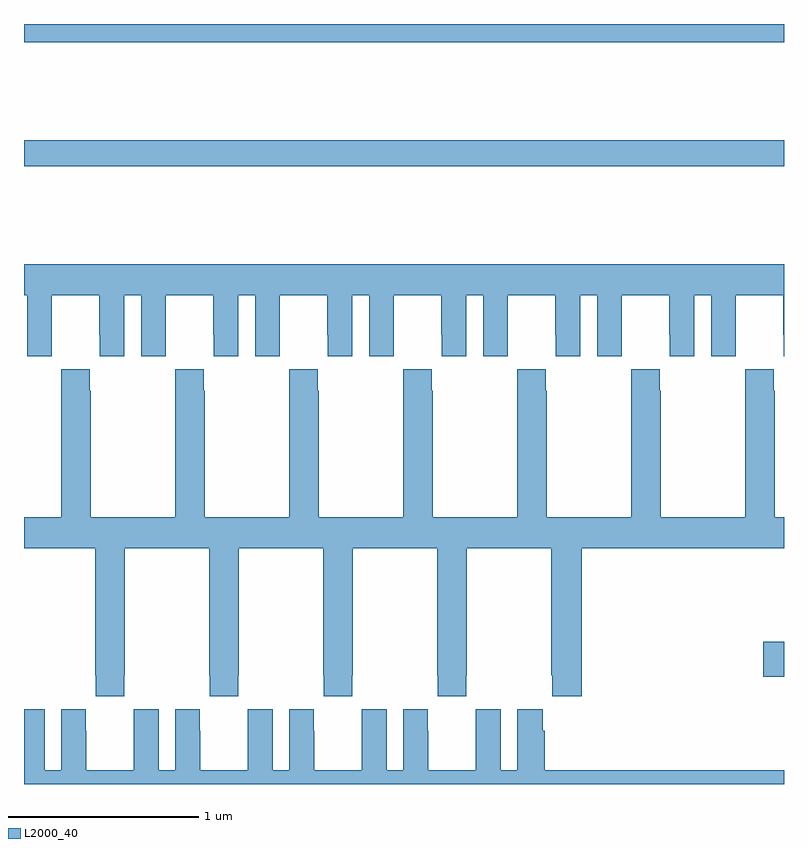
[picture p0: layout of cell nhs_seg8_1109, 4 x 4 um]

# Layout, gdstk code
import gdstk
lib = gdstk.Library(unit=1e-6, precision=1e-09)
def R(c, l, rs):  # rectangles x0, y0, x1, y1
    for r in rs: c.add(gdstk.rectangle(r[:2], r[2:], *l))
def P(c, l, *ps):  # polygons
    for p in ps: c.add(gdstk.Polygon(p, *l))
L2000_40 = (2000, 40)

nhs_seg8_1109 = lib.new_cell('nhs_seg8_1109')
R(nhs_seg8_1109, L2000_40, [(184.89,1142.465,185,1142.648), (181,1145.152,185,1145.288), (181,1145.804,185,1145.9)])
P(nhs_seg8_1109, L2000_40, [(181,1144.472),(181.016,1144.472),(181.016,1144.152),(181.146,1144.152),(181.146,1144.264),(181.147,1144.264),(181.147,1144.472),(181.397,1144.472),(181.397,1144.264),(181.398,1144.264),(181.398,1144.152),(181.528,1144.152),(181.528,1144.472),(181.616,1144.472),(181.616,1144.152),(181.746,1144.152),(181.746,1144.264),(181.747,1144.264),(181.747,1144.472),(181.997,1144.472),(181.997,1144.264),(181.998,1144.264),(181.998,1144.152),(182.128,1144.152),(182.128,1144.472),(182.216,1144.472),(182.216,1144.152),(182.346,1144.152),(182.346,1144.264),(182.347,1144.264),(182.347,1144.472),(182.597,1144.472),(182.597,1144.264),(182.598,1144.264),(182.598,1144.152),(182.728,1144.152),(182.728,1144.472),(182.816,1144.472),(182.816,1144.152),(182.946,1144.152),(182.946,1144.264),(182.947,1144.264),(182.947,1144.472),(183.197,1144.472),(183.197,1144.264),(183.198,1144.264),(183.198,1144.152),(183.328,1144.152),(183.328,1144.472),(183.416,1144.472),(183.416,1144.152),(183.546,1144.152),(183.546,1144.264),(183.547,1144.264),(183.547,1144.472),(183.797,1144.472),(183.797,1144.264),(183.798,1144.264),(183.798,1144.152),(183.928,1144.152),(183.928,1144.472),(184.016,1144.472),(184.016,1144.152),(184.146,1144.152),(184.146,1144.264),(184.147,1144.264),(184.147,1144.472),(184.397,1144.472),(184.397,1144.264),(184.398,1144.264),(184.398,1144.152),(184.528,1144.152),(184.528,1144.472),(184.616,1144.472),(184.616,1144.152),(184.746,1144.152),(184.746,1144.264),(184.747,1144.264),(184.747,1144.472),(184.997,1144.472),(184.997,1144.264),(184.998,1144.264),(184.998,1144.152),(185,1144.152),(185,1144.636),(181,1144.636)],
  [(181.527,1142.473),(181.53,1142.473),(181.53,1143.14),(181.975,1143.14),(181.975,1142.473),(181.977,1142.473),(181.977,1142.361),(182.127,1142.361),(182.127,1142.473),(182.13,1142.473),(182.13,1143.14),(182.575,1143.14),(182.575,1142.473),(182.577,1142.473),(182.577,1142.361),(182.727,1142.361),(182.727,1142.473),(182.73,1142.473),(182.73,1143.14),(183.175,1143.14),(183.175,1142.473),(183.177,1142.473),(183.177,1142.361),(183.327,1142.361),(183.327,1142.473),(183.33,1142.473),(183.33,1143.14),(183.775,1143.14),(183.775,1142.473),(183.781,1142.473),(183.781,1142.361),(183.935,1142.361),(183.935,1143.14),(185,1143.14),(185,1143.304),(184.95,1143.304),(184.95,1143.971),(184.947,1143.971),(184.947,1144.084),(184.797,1144.084),(184.797,1143.971),(184.795,1143.971),(184.795,1143.304),(184.35,1143.304),(184.35,1143.971),(184.347,1143.971),(184.347,1144.084),(184.197,1144.084),(184.197,1143.971),(184.195,1143.971),(184.195,1143.304),(183.75,1143.304),(183.75,1143.971),(183.747,1143.971),(183.747,1144.084),(183.597,1144.084),(183.597,1143.971),(183.595,1143.971),(183.595,1143.304),(183.15,1143.304),(183.15,1143.971),(183.147,1143.971),(183.147,1144.084),(182.997,1144.084),(182.997,1143.971),(182.995,1143.971),(182.995,1143.304),(182.55,1143.304),(182.55,1143.971),(182.547,1143.971),(182.547,1144.084),(182.397,1144.084),(182.397,1143.971),(182.395,1143.971),(182.395,1143.304),(181.95,1143.304),(181.95,1143.971),(181.947,1143.971),(181.947,1144.084),(181.797,1144.084),(181.797,1143.971),(181.795,1143.971),(181.795,1143.304),(181.35,1143.304),(181.35,1143.971),(181.347,1143.971),(181.347,1144.084),(181.197,1144.084),(181.197,1143.971),(181.195,1143.971),(181.195,1143.304),(181,1143.304),(181,1143.14),(181.375,1143.14),(181.375,1142.473),(181.377,1142.473),(181.377,1142.361),(181.527,1142.361)],
  [(185,1141.972),(183.74,1141.972),(183.74,1142.18),(183.73,1142.18),(183.73,1142.293),(183.596,1142.293),(183.596,1141.972),(183.508,1141.972),(183.508,1142.293),(183.378,1142.293),(183.378,1142.18),(183.377,1142.18),(183.377,1141.972),(183.127,1141.972),(183.127,1142.18),(183.126,1142.18),(183.126,1142.293),(182.996,1142.293),(182.996,1141.972),(182.908,1141.972),(182.908,1142.293),(182.778,1142.293),(182.778,1142.18),(182.777,1142.18),(182.777,1141.972),(182.527,1141.972),(182.527,1142.18),(182.526,1142.18),(182.526,1142.293),(182.396,1142.293),(182.396,1141.972),(182.308,1141.972),(182.308,1142.293),(182.178,1142.293),(182.178,1142.18),(182.177,1142.18),(182.177,1141.972),(181.927,1141.972),(181.927,1142.18),(181.926,1142.18),(181.926,1142.293),(181.796,1142.293),(181.796,1141.972),(181.708,1141.972),(181.708,1142.293),(181.578,1142.293),(181.578,1142.18),(181.577,1142.18),(181.577,1141.972),(181.327,1141.972),(181.327,1142.18),(181.326,1142.18),(181.326,1142.293),(181.196,1142.293),(181.196,1141.972),(181.108,1141.972),(181.108,1142.293),(181,1142.293),(181,1141.9),(185,1141.9)])

lib.write_gds('nhs_seg8_1109.gds')
